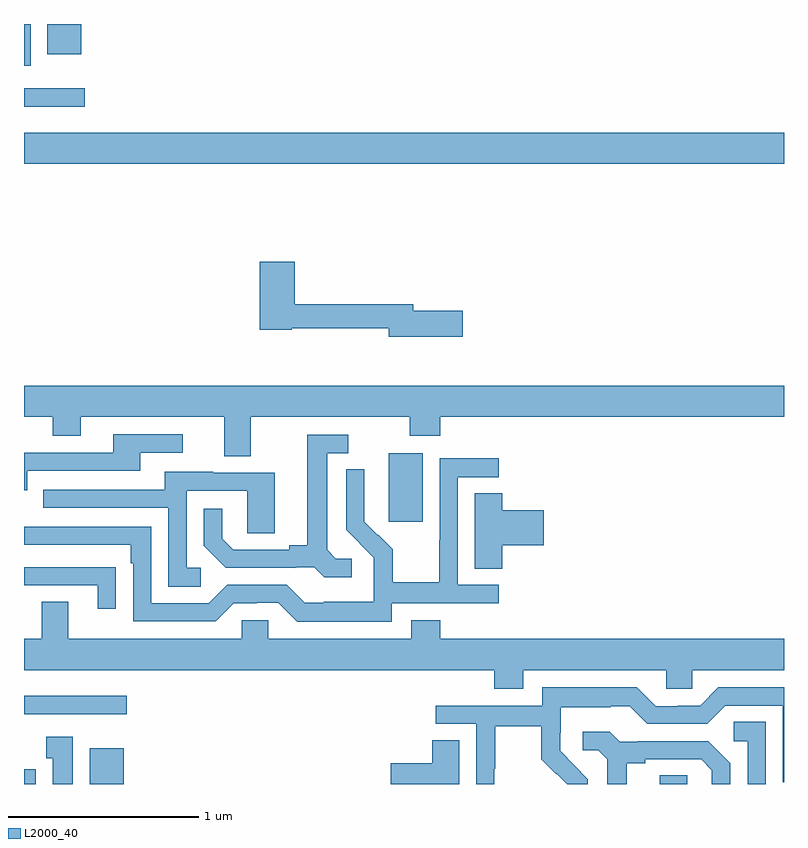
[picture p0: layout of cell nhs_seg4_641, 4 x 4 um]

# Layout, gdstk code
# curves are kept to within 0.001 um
import gdstk
lib = gdstk.Library(unit=1e-6, precision=1e-09)
def R(c, l, rs):  # rectangles x0, y0, x1, y1
    for r in rs: c.add(gdstk.rectangle(r[:2], r[2:], *l))
def P(c, l, *ps):  # polygons
    for p in ps: c.add(gdstk.Polygon(p, *l))
L2000_40 = (2000, 40)

nhs_seg4_641 = lib.new_cell('nhs_seg4_641')
R(nhs_seg4_641, L2000_40, [(143,782.9,143.061,782.977), (143.345,782.9,143.524,783.088), (146.345,782.9,146.49,782.945), (143,783.267,143.542,783.364), (144.92,784.281,145.099,784.642), (143,786.164,147,786.328), (143,786.464,143.32,786.561), (143,786.681,143.035,786.9), (143.123,786.74,143.302,786.9)])
P(nhs_seg4_641, L2000_40, [(145.309,785.39),(145.048,785.39),(145.048,785.426),(144.425,785.426),(144.425,785.65),(144.242,785.65),(144.242,785.29),(144.408,785.29),(144.408,785.298),(144.92,785.298),(144.92,785.255),(145.309,785.255)],
  [(144.193,784.832),(145.03,784.832),(145.03,784.733),(145.19,784.733),(145.19,784.832),(147,784.832),(147,784.996),(143,784.996),(143,784.832),(143.152,784.832),(143.152,784.733),(143.299,784.733),(143.299,784.832),(144.053,784.832),(144.053,784.624),(144.193,784.624)],
  [(143.016,784.548),(143.611,784.548),(143.611,784.644),(143.836,784.644),(143.836,784.74),(143.471,784.74),(143.471,784.644),(143,784.644),(143,784.445),(143.016,784.445)],
  [(144.724,784.086),(144.642,784.086),(144.595,784.133),(144.595,784.641),(144.706,784.641),(144.706,784.737),(144.491,784.737),(144.491,784.157),(144.395,784.157),(144.395,784.134),(144.1,784.134),(144.043,784.191),(144.043,784.348),(143.946,784.348),(143.946,784.154),(144.062,784.038),(144.434,784.038),(144.434,784.041),(144.528,784.041),(144.58,783.989),(144.724,783.989)],
  [(144.936,783.852),(145.498,783.852),(145.498,783.948),(145.284,783.948),(145.284,784.515),(145.498,784.515),(145.498,784.614),(145.188,784.614),(145.188,784.184),(145.186,784.184),(145.186,783.961),(144.941,783.961),(144.941,784.135),(144.864,784.212),(144.861,784.209),(144.791,784.28),(144.792,784.556),(144.696,784.556),(144.696,784.238),(144.842,784.09),(144.842,783.993),(144.84,783.993),(144.84,783.859),(144.577,783.859),(144.577,783.855),(144.477,783.855),(144.384,783.948),(144.069,783.948),(143.973,783.852),(143.67,783.852),(143.67,784.254),(143,784.254),(143,784.158),(143.561,784.158),(143.561,784.061),(143.574,784.061),(143.574,783.756),(144.009,783.756),(144.105,783.852),(144.224,783.852),(144.224,783.855),(144.339,783.855),(144.439,783.755),(144.936,783.755)],
  [(143.929,784.038),(143.856,784.038),(143.856,784.443),(144.174,784.443),(144.174,784.219),(144.319,784.219),(144.319,784.539),(143.995,784.539),(143.995,784.543),(143.741,784.543),(143.741,784.449),(143.101,784.449),(143.101,784.353),(143.76,784.353),(143.76,783.937),(143.929,783.937)],
  [(145.517,784.157),(145.735,784.157),(145.735,784.34),(145.517,784.34),(145.517,784.43),(145.373,784.43),(145.373,784.033),(145.517,784.033)],
  [(143.483,784.04),(143.381,784.04),(143.381,784.041),(143,784.041),(143,783.945),(143.387,783.945),(143.387,783.822),(143.483,783.822)],
  [(145.627,783.5),(146.379,783.5),(146.379,783.402),(146.517,783.402),(146.517,783.5),(147,783.5),(147,783.664),(145.19,783.664),(145.19,783.763),(145.037,783.763),(145.037,783.664),(144.285,783.664),(144.285,783.762),(144.147,783.762),(144.147,783.664),(143.233,783.664),(143.233,783.859),(143.093,783.859),(143.093,783.664),(143,783.664),(143,783.5),(145.475,783.5),(145.475,783.401),(145.627,783.401)],
  [(145.476,782.98),(145.479,782.98),(145.479,783.204),(145.723,783.204),(145.723,783.029),(145.8,782.952),(145.803,782.955),(145.859,782.9),(145.968,782.9),(145.968,782.926),(145.822,783.074),(145.822,783.171),(145.824,783.171),(145.824,783.305),(146.087,783.305),(146.087,783.309),(146.187,783.309),(146.28,783.216),(146.595,783.216),(146.691,783.312),(146.994,783.312),(146.994,782.91),(147,782.91),(147,783.408),(146.655,783.408),(146.559,783.312),(146.441,783.312),(146.441,783.309),(146.325,783.309),(146.225,783.409),(145.728,783.409),(145.728,783.312),(145.167,783.312),(145.167,783.216),(145.38,783.216),(145.38,782.9),(145.476,782.9)],
  [(146.904,783.227),(146.736,783.227),(146.736,783.126),(146.808,783.126),(146.808,782.9),(146.904,782.9)],
  [(146.173,783.008),(146.269,783.008),(146.269,783.03),(146.564,783.03),(146.621,782.973),(146.621,782.9),(146.718,782.9),(146.718,783.01),(146.602,783.126),(146.23,783.126),(146.23,783.123),(146.136,783.123),(146.084,783.175),(145.941,783.175),(145.941,783.078),(146.022,783.078),(146.069,783.031),(146.069,782.9),(146.173,782.9)],
  [(143.257,783.148),(143.117,783.148),(143.117,783.035),(143.15,783.035),(143.15,782.9),(143.257,782.9)],
  [(145.291,783.131),(145.148,783.131),(145.148,783.008),(144.93,783.008),(144.93,782.9),(145.291,782.9)])

lib.write_gds('nhs_seg4_641.gds')
